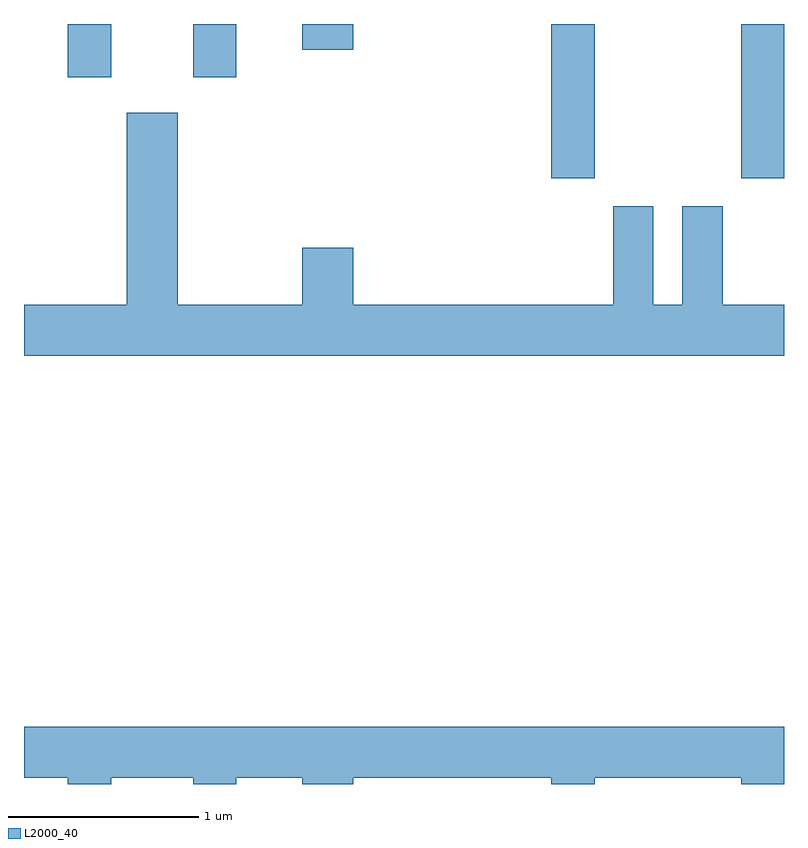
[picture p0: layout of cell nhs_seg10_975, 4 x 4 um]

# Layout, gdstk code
import gdstk
lib = gdstk.Library(unit=1e-6, precision=1e-09)
def R(c, l, rs):  # rectangles x0, y0, x1, y1
    for r in rs: c.add(gdstk.rectangle(r[:2], r[2:], *l))
def P(c, l, *ps):  # polygons
    for p in ps: c.add(gdstk.Polygon(p, *l))
L2000_40 = (2000, 40)

nhs_seg10_975 = lib.new_cell('nhs_seg10_975')
R(nhs_seg10_975, L2000_40, [(216.386,2143.711,216.614,2144.522), (217.386,2143.711,217.611,2144.522), (213.841,2144.241,214.069,2144.522), (214.501,2144.241,214.729,2144.522), (215.076,2144.386,215.344,2144.522)])
P(nhs_seg10_975, L2000_40, [(217.611,2143.044),(217.289,2143.044),(217.289,2143.564),(217.076,2143.564),(217.076,2143.044),(216.924,2143.044),(216.924,2143.564),(216.711,2143.564),(216.711,2143.044),(215.344,2143.044),(215.344,2143.344),(215.076,2143.344),(215.076,2143.044),(214.419,2143.044),(214.419,2144.054),(214.151,2144.054),(214.151,2143.044),(213.611,2143.044),(213.611,2142.776),(217.611,2142.776)],
  [(214.069,2140.556),(214.501,2140.556),(214.501,2140.522),(214.729,2140.522),(214.729,2140.556),(215.076,2140.556),(215.076,2140.522),(215.344,2140.522),(215.344,2140.556),(216.386,2140.556),(216.386,2140.522),(216.614,2140.522),(216.614,2140.556),(217.386,2140.556),(217.386,2140.522),(217.611,2140.522),(217.611,2140.824),(213.611,2140.824),(213.611,2140.556),(213.841,2140.556),(213.841,2140.522),(214.069,2140.522)])

lib.write_gds('nhs_seg10_975.gds')
